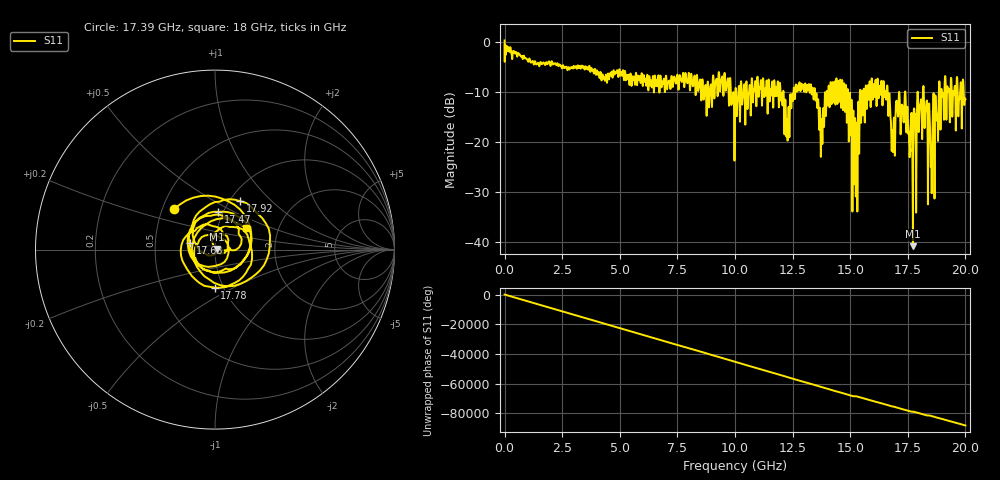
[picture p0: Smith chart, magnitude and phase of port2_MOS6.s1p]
! MS46122B
! 2250307/22442219
! 7/24/2025 7:37:45 AM
! C:\USERS\SPARKY\DOCUMENTS\VNA_DATA\JULY24_2025\3K\PORT2_MOS6.S1P
! CHANNEL.1
! TR.MEASUREMENT
! RAW.DATA
# GHZ S RI R 50.0
! FREQ.GHZ  S11RE  S11IM
!; PortSelection: Port_1
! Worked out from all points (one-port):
!   10001 points, 1 MHz to 20 GHz, reference 50 ohm
!   lowest |S11| = -40.8 dB at 17.72 GHz (marker M1), VSWR 1.02, Z = 50.9 + j0.328 ohm
!   |S11| at or under -10 dB: 14.9 GHz to 15.42 GHz (517.5 MHz wide, 3.41 % of centre); 17.39 GHz to 17.93 GHz (533.3 MHz wide, 3.02 % of centre); 18.19 GHz to 18.85 GHz (652.5 MHz wide, 3.52 % of centre) (the widest 3 of 82)
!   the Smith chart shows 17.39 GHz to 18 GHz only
!   S11 on the Smith chart (normalised r, x): 17.39 GHz: 0.58, +0.29; 17.47 GHz: 0.95, +0.42; 17.63 GHz: 0.75, +0.06; 17.78 GHz: 0.91, -0.40; 17.92 GHz: 1.12, +0.67; 18 GHz: 1.37, +0.35
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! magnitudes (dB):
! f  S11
! 1 MHz  0.4
! 2.501 GHz  -5.1
! 5.001 GHz  -5.8
! 7.501 GHz  -6.5
! 10 GHz  -12.6
! 11.78 GHz  -9.0
! 12.29 GHz  -19.3
! 12.5 GHz  -11.1
! 13.29 GHz  -8.4
! 13.73 GHz  -22.2
! 14.48 GHz  -7.7
! 15 GHz  -12.2
! 15.24 GHz  -29.7
! 15.51 GHz  -9.7
! 16.02 GHz  -8.4
! 16.53 GHz  -9.8
! 16.86 GHz  -22.0
! 17.39 GHz  -9.9
! 17.47 GHz  -13.5
! 17.5 GHz  -14.7
! 17.63 GHz  -16.8
! 17.72 GHz  -40.8
! 17.78 GHz  -13.5
! 17.92 GHz  -10.3
! 18 GHz  -13.4
! 18.46 GHz  -17.7
! 18.94 GHz  -11.2
! 20 GHz  -11.4
